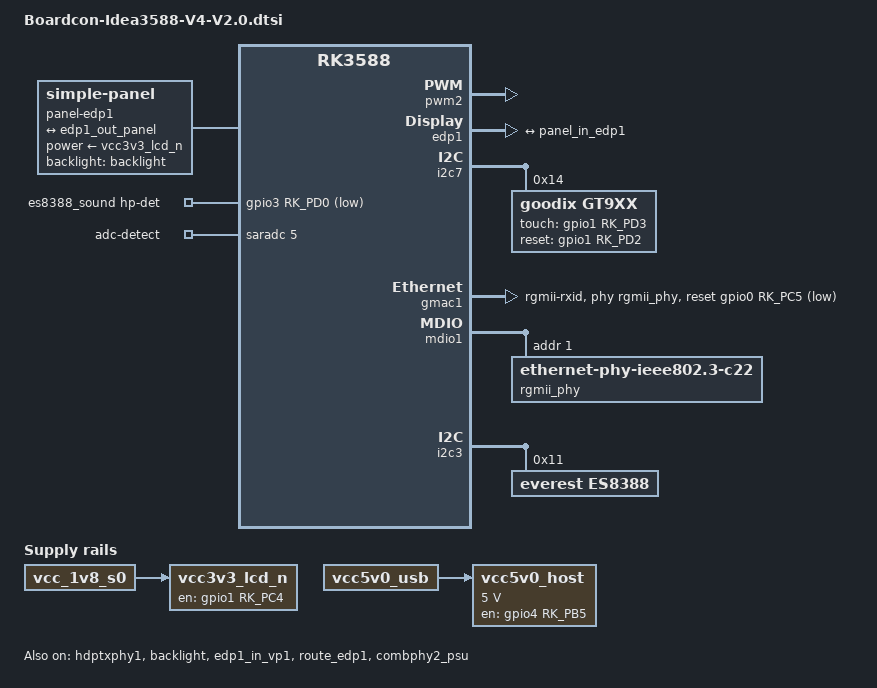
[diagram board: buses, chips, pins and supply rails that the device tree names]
// SPDX-License-Identifier: (GPL-2.0+ OR MIT)
/*
 * Copyright (c) 2022 Rockchip Electronics Co., Ltd.
 *
 */

#include "dt-bindings/usb/pd.h"
#include "rk3588.dtsi"
#include "rk3588-evb.dtsi"
#include "Boardcon-rk806-single.dtsi"

/ {

	vcc3v3_lcd_n: vcc3v3-lcd-n {
		compatible = "regulator-fixed";
		regulator-name = "vcc3v3_lcd_n";
		regulator-boot-on;
		enable-active-high;
		gpio = <&gpio1 RK_PC4 GPIO_ACTIVE_HIGH>;
		vin-supply = <&vcc_1v8_s0>;
	};

	panel-edp1 {
		compatible = "simple-panel";
		backlight = <&backlight>;
		power-supply = <&vcc3v3_lcd_n>;
		prepare-delay-ms = <120>;
		enable-delay-ms = <120>;
		unprepare-delay-ms = <120>;
		disable-delay-ms = <120>;
		width-mm = <120>;
		height-mm = <160>;

		panel-timing {
			clock-frequency = <150000000>;
			hactive = <1920>;
			vactive = <1200>;
			hfront-porch = <200>;
			hsync-len = <32>;
			hback-porch = <48>;
			vfront-porch = <31>;
			vsync-len = <6>;
			vback-porch = <3>;
			hsync-active = <0>;
			vsync-active = <0>;
			de-active = <0>;
			pixelclk-active = <0>;
		};

		port {
			panel_in_edp1: endpoint {
				remote-endpoint = <&edp1_out_panel>;
			};
		};
	};
	
	vcc5v0_host: vcc5v0-host {
		compatible = "regulator-fixed";
		regulator-name = "vcc5v0_host";
		regulator-boot-on;
		regulator-always-on;
		regulator-min-microvolt = <5000000>;
		regulator-max-microvolt = <5000000>;
		enable-active-high;
		gpio = <&gpio4 RK_PB5 GPIO_ACTIVE_HIGH>;
		vin-supply = <&vcc5v0_usb>;
		pinctrl-names = "default";
		pinctrl-0 = <&vcc5v0_host_en>;
	};
	
	es8388_sound: es8388-sound {
		status = "okay";
		compatible = "rockchip,multicodecs-card";
		rockchip,card-name = "rockchip-es8388";
		hp-det-gpio = <&gpio3 RK_PD0 GPIO_ACTIVE_LOW>;
		io-channels = <&saradc 5>;
		io-channel-names = "adc-detect";
		keyup-threshold-microvolt = <1800000>;
		poll-interval = <100>;
		rockchip,pre-power-on-delay-ms = <30>;
		rockchip,post-power-down-delay-ms = <40>;
		rockchip,format = "i2s";
		rockchip,mclk-fs = <256>;
		rockchip,cpu = <&i2s0_8ch>;
		rockchip,codec = <&es8388>;
		rockchip,audio-routing =
			"Headphone", "LOUT1",
			"Headphone", "ROUT1",
			"Speaker", "LOUT2",
			"Speaker", "ROUT2",
			"Headphone", "Headphone Power",
			"Headphone", "Headphone Power",
			"Speaker", "Speaker Power",
			"Speaker", "Speaker Power",
			"LINPUT1", "Main Mic",
			"LINPUT2", "Main Mic",
			"RINPUT1", "Headset Mic",
			"RINPUT2", "Headset Mic";
		pinctrl-names = "default";
		pinctrl-0 = <&hp_det>;
		play-pause-key {
			label = "playpause";
			linux,code = <KEY_PLAYPAUSE>;
			press-threshold-microvolt = <2000>;
		};
	};
	
	wireless_bluetooth: wireless-bluetooth {
		compatible = "bluetooth-platdata";
		clock-names = "ext_clock";	
		status = "okay";
	};

	wireless_wlan: wireless-wlan {
		compatible = "wlan-platdata";
		wifi_chip_type = "ap6398s";
		status = "okay";
	};
};

/* edp phy */
&hdptxphy1 {
	status = "okay";
};

&pwm2 {
	status = "okay";
};

&backlight {
	enable-gpios = <&gpio4 RK_PB0 GPIO_ACTIVE_HIGH>;
	pwms = <&pwm2 0 25000 0>;
	status = "okay";
};

&edp1 {
	force-hpd;
	status = "okay";

	ports {
		port@1 {
			reg = <1>;

			edp1_out_panel: endpoint {
				remote-endpoint = <&panel_in_edp1>;
			};
		};
	};
};

&edp1_in_vp1 {
	status = "okay";
};

&route_edp1 {
	status = "okay";
	connect = <&vp1_out_edp1>;
};

&i2c7 {
	status = "okay";

	gt9xx: gt9xx@14 {
		compatible = "goodix,gt9xx";
		reg = <0x14>;
		touch-gpio = <&gpio1 RK_PD3 GPIO_ACTIVE_HIGH>;
		reset-gpio = <&gpio1 RK_PD2 GPIO_ACTIVE_HIGH>;
		max-x = <1920>;
		max-y = <1200>;
		tp-size = <89>;
		status = "okay";
	};
};

/* usb3.0 phy */
&combphy2_psu {
	status = "okay";
};

&gmac1 {
	/* Use rgmii-rxid mode to disable rx delay inside Soc */
	phy-mode = "rgmii-rxid";
	clock_in_out = "output";

	snps,reset-gpio = <&gpio0 RK_PC5 GPIO_ACTIVE_LOW>;
	snps,reset-active-low;
	/* Reset time is 20ms, 100ms for rtl8211f */
	snps,reset-delays-us = <0 20000 100000>;

	pinctrl-names = "default";
	pinctrl-0 = <&gmac1_miim          
		     &gmac1_tx_bus2
		     &gmac1_rx_bus2
		     &gmac1_rgmii_clk
		     &gmac1_rgmii_bus>;

	tx_delay = <0x43>;
	/* rx_delay = <0x3f>; */

	phy-handle = <&rgmii_phy>;
	status = "okay";
};

&mdio1 {
	rgmii_phy: phy@1 {
		compatible = "ethernet-phy-ieee802.3-c22";
		reg = <0x1>;
	};
};

&i2c3 {
	status = "okay";
	es8388: es8388@11 {
		status = "okay";
		#sound-dai-cells = <0>;
		compatible = "everest,es8388", "everest,es8323";
		reg = <0x11>;
		clocks = <&mclkout_i2s0>;
		clock-names = "mclk";
		assigned-clocks = <&mclkout_i2s0>;
		assigned-clock-rates = <12288000>;
		pinctrl-names = "default";
		pinctrl-0 = <&i2s0_mclk>;
	};
};



&pinctrl {

	usb {
		vcc5v0_host_en: vcc5v0-host-en {
			rockchip,pins = <4 RK_PB5 RK_FUNC_GPIO &pcfg_pull_none>;
		};
	};
	
	headphone {
		hp_det: hp-det {
			rockchip,pins = <3 RK_PD0 RK_FUNC_GPIO &pcfg_pull_none>;
		};
	};
};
